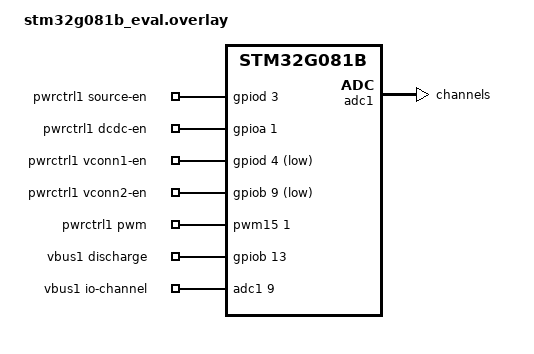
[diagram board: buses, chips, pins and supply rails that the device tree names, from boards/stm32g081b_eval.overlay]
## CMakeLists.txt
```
# Copyright (c) 2026 Alexander Wachter
#
# SPDX-License-Identifier: Apache-2.0

cmake_minimum_required(VERSION 3.21)

find_package(Zephyr REQUIRED HINTS $ENV{ZEPHYR_BASE})
project(usbc_pd_drp_sample LANGUAGES CXX)

target_sources(app PRIVATE src/main.cpp)
```

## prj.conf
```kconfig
CONFIG_USB_TYPEC_STACK=y
CONFIG_USBC_TCPC_DRIVER=y
CONFIG_USBC_VBUS_DRIVER=y
CONFIG_ADC=y
CONFIG_PWM=y
CONFIG_GPIO=y
CONFIG_LOG=y
CONFIG_MTL_FSM_TRACE=y
CONFIG_CPP=y
CONFIG_STD_CPP20=y
CONFIG_REQUIRES_FULL_LIBCPP=y
```

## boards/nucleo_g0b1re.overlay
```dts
/*
 * Copyright (c) 2026 Alexander Wachter
 *
 * SPDX-License-Identifier: Apache-2.0
 *
 * NUCLEO-G0B1RE with the X-NUCLEO-DRP1M1 shield (--shield
 * x_nucleo_drp1m1): the port's capabilities. The source offer is the
 * shield's SOURCE path, fed with 5 V from the Nucleo's rail through
 * the CN4 jumper and switched onto VBUS by the TCPP03-M20.
 */

#include <zephyr/dt-bindings/usb-c/pd.h>

&x_nucleo_drp1m1_port {
	sink-pdos = <PDO_FIXED(5000, 100, 0)>;
	source-pdos = <PDO_FIXED(5000, 1500, 0)>;
};
```

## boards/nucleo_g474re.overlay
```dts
/*
 * Copyright (c) 2026 Alexander Wachter
 *
 * SPDX-License-Identifier: Apache-2.0
 *
 * NUCLEO-G474RE with the X-NUCLEO-DRP1M1 shield (--shield
 * x_nucleo_drp1m1): the port's capabilities. The source offer is the
 * shield's SOURCE path, fed with 5 V from the Nucleo's rail through
 * the CN4 jumper and switched onto VBUS by the TCPP03-M20.
 */

#include <zephyr/dt-bindings/usb-c/pd.h>

&x_nucleo_drp1m1_port {
	sink-pdos = <PDO_FIXED(5000, 100, 0)>;
	source-pdos = <PDO_FIXED(5000, 1500, 0)>;
};
```

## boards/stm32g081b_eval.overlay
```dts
/*
 * Copyright (c) 2026 Alexander Wachter
 *
 * SPDX-License-Identifier: Apache-2.0
 */

#include <zephyr/dt-bindings/adc/adc.h>
#include <zephyr/dt-bindings/usb-c/pd.h>

/* VBUS reaches the ADC through a 43 kOhm divider: the longest sampling
 * time, 160.5 cycles, charges the sampling capacitor from it */
&adc1 {
	channel@9 {
		zephyr,acquisition-time = <ADC_ACQ_TIME_MAX>;
	};
};

/ {
	aliases {
		usbc-port0 = &port1;
		usbc-port0-pwrctrl = &pwrctrl1;
	};

	/* The eval board's source power path: a PWM duty cycle selects
	 * the DCDC output voltage, GPIOs gate the DCDC and the VBUS
	 * source switch (same wiring as Zephyr's usb_c/drp sample)
	 */
	pwrctrl1: pwrctrl {
		compatible = "zephyr,usb-c-pwrctrl";

		/* Pin D3 is used to enable VBUS Source */
		source-en-gpios = <&gpiod 3 GPIO_ACTIVE_HIGH>;

		/* Pin A1 is used for DCDC_EN */
		dcdc-en-gpios = <&gpioa 1 GPIO_ACTIVE_HIGH>;

		/* Pin D4 enables VCONN on CC1 */
		vconn1-en-gpios = <&gpiod 4 GPIO_ACTIVE_LOW>;

		/* Pin B9 enables VCONN on CC2 */
		vconn2-en-gpios = <&gpiob 9 GPIO_ACTIVE_LOW>;

		/* PWM for voltage selection */
		pwms = <&pwm15 1 PWM_USEC(50) PWM_POLARITY_INVERTED>;
	};

	vbus1: vbus {
		compatible = "zephyr,usb-c-vbus-adc";
		io-channels = <&adc1 9>;
		output-ohms = <49900>;
		full-ohms = <(330000 + 49900)>;

		/* Pin B13 is used to control VBUS Discharge for Port1 */
		discharge-gpios = <&gpiob 13 GPIO_ACTIVE_HIGH>;
	};

	ports {
		#address-cells = <1>;
		#size-cells = <0>;

		port1: usbc-port@1 {
			compatible = "usb-c-connector";
			reg = <1>;
			tcpc = <&ucpd1>;
			vbus = <&vbus1>;
			power-role = "dual";
			sink-pdos = <PDO_FIXED(5000, 100, 0)>;
			source-pdos = <PDO_FIXED(5000, 1500, 0) PDO_FIXED(9000, 1000, 0)
				       PDO_FIXED(15000, 1000, 0)>;
		};
	};
};
```

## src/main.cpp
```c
/*
 * USB PD dual-role port sample: DRP toggling plus power negotiation in
 * whichever role the attach resolves to, behind usbc::PdDrp - the user
 * side is only the domain pieces: drivers, timers, capabilities,
 * policies, and the power effects. Engine routing, alert dispatch, and
 * message-header bookkeeping live in the library.
 *
 * The joystick triggers the PD swap messaging: SEL requests a
 * PR_Swap, LEFT a DR_Swap. The engines run the full exchange - the
 * request, the partner's Accept, and for the power swap the PS_RDY
 * hand-off with the termination flip in between.
 *
 * Copyright (c) 2026 Alexander Wachter
 *
 * SPDX-License-Identifier: Apache-2.0
 */

#include <mtl/zephyr/TraceLogger.hpp>
#include <usbc/PdDrp.hpp>
#include <usbc/zephyr/Tcpc.hpp>
#include <usbc/zephyr/Vbus.hpp>
#include <usbc/zephyr/WorkQueue.hpp>

#include <zephyr/devicetree.h>
#include <zephyr/drivers/gpio.h>
#include <zephyr/drivers/pwm.h>
#include <zephyr/drivers/usb_c/usbc_tcpc.h>
#include <zephyr/kernel.h>
#include <zephyr/logging/log.h>

#include <array>
#include <cstdint>

LOG_MODULE_REGISTER(pd_drp_sample, LOG_LEVEL_INF);

#define USBC_PORT0_NODE DT_ALIAS(usbc_port0)

// The source power path is the board's: the STM32G081B-EVAL's DCDC
// behind a PWM voltage select (zephyr,usb-c-pwrctrl, aliased
// usbc-port0-pwrctrl), or a fixed 5 V rail that the connector's power
// path controller (ppc) switches onto VBUS - the X-NUCLEO-DRP1M1
#define PWRCTRL_NODE DT_ALIAS(usbc_port0_pwrctrl)
#define HAS_PWRCTRL DT_NODE_EXISTS(PWRCTRL_NODE)
#define HAS_PPC DT_NODE_HAS_PROP(USBC_PORT0_NODE, ppc)

#if HAS_PPC
#define PPC_NODE DT_PROP(USBC_PORT0_NODE, ppc)
#if DT_NODE_HAS_COMPAT(PPC_NODE, st_tcpp03_m20)
#define PPC_SWITCHES_VCONN 1
#include <zephyr/drivers/usb_c/tcpp03_m20.h>
#endif
#endif

namespace {

// What this port takes as a sink, and offers as a source
constexpr std::array sink_capabilities{
    usbc::sink_capability{5000, 3000},
    usbc::sink_capability{9000, 3000}
};
// The source offers come straight from the connector node's
// source-pdos: the DT PDO_FIXED words are the PD wire format that
// usbc::pdo::makeFixedSource() builds
constexpr std::array<std::uint32_t, DT_PROP_LEN(USBC_PORT0_NODE, source_pdos)> source_caps{
    DT_FOREACH_PROP_ELEM_SEP(USBC_PORT0_NODE, source_pdos, DT_PROP_BY_IDX, (, ))
};

// The sink engine's power side: no real input regulator, log its work
struct Power : usbc::SinkPower<Power> {
    bool setLimit(usbc::millivolt voltage, usbc::milliamp current)
    {
        LOG_INF("load limit: %d mV, %d mA", voltage, current);
        return true;
    }
    void onContract(usbc::millivolt voltage, usbc::milliamp current)
    {
        LOG_INF("sink contract: %d mV at %d mA", voltage, current);
    }
    void onContractLost() { LOG_WRN("sink contract lost, back to vSafe5V"); }
};

// The supply's settled report comes from the stack's work queue, never
// synchronously - the engine is mid-transition when setOutput() runs
// (no output-voltage feedback on these boards, as in Zephyr's sample)
struct QueuedReadyReport {
    k_work work{};
    usbc::supply_ready_callback callback = nullptr;
    void* context = nullptr;

    QueuedReadyReport()
    {
        k_work_init(&work, [](k_work* item) {
            auto* self = CONTAINER_OF(item, QueuedReadyReport, work);
            self->callback(self->context, true);
        });
    }

    void setReadyCallback(usbc::supply_ready_callback cb, void* ctx)
    {
        callback = cb;
        context = ctx;
    }
    void reportReady() { k_work_submit_to_queue(&usbc::zephyr::workQueue(), &work); }
};

#if HAS_PWRCTRL
// The eval board's source power path: a PWM duty cycle selects the
// DCDC output voltage, GPIOs gate the DCDC and the VBUS source switch
struct Supply : usbc::SourceSupply<Supply>, QueuedReadyReport {
    // duty cycles measured for the eval board's DCDC (50 us period)
    static constexpr uint32_t pulseFor(usbc::millivolt voltage)
    {
        switch (voltage) {
        case 5000: return 21500;
        case 9000: return 30000;
        case 15000: return 45000;
        default: return 0;
        }
    }

    pwm_dt_spec const voltage_select = PWM_DT_SPEC_GET(PWRCTRL_NODE);
    gpio_dt_spec const source_en = GPIO_DT_SPEC_GET(PWRCTRL_NODE, source_en_gpios);
    gpio_dt_spec const dcdc_en = GPIO_DT_SPEC_GET(PWRCTRL_NODE, dcdc_en_gpios);

    bool init()
    {
        return gpio_pin_configure_dt(&source_en, GPIO_OUTPUT_ACTIVE) == 0 &&
               gpio_pin_configure_dt(&dcdc_en, GPIO_OUTPUT_ACTIVE) == 0 &&
               pwm_set_pulse_dt(&voltage_select, pulseFor(0)) == 0;
    }

    bool setOutput(usbc::millivolt voltage, usbc::milliamp current_limit)
    {
        LOG_INF("supply: %d mV, %d mA", voltage, current_limit);
        if (pwm_set_pulse_dt(&voltage_select, pulseFor(voltage)) != 0) {
            return false;
        }
        reportReady();
        return true;
    }
};
#else
// A fixed 5 V rail: the power path controller's source switch puts it
// onto VBUS (the vbus block's switch position), so vSafe5V is the only
// operating point and the connector's source-pdos offer nothing else
struct Supply : usbc::SourceSupply<Supply>, QueuedReadyReport {
    bool init() { return true; }

    bool setOutput(usbc::millivolt voltage, usbc::milliamp current_limit)
    {
        LOG_INF("supply: %d mV, %d mA", voltage, current_limit);
        if (voltage != 5000) {
            return false;
        }
        reportReady();
        return true;
    }
};
#endif
static_assert(usbc::concepts::source_supply<Supply>);

// Signals that the power supply is live at the contract's operating
// point: the engine has driven Supply::setOutput(), the output
// settled, and PS_RDY is on the wire when onContract fires.
// onContractLost reports the end (detach, Hard Reset), output back at
// vSafe5V. Report-only - the engine programs the supply itself
struct ContractMonitor : usbc::SourcePower<ContractMonitor> {
    void onContract(usbc::millivolt voltage, usbc::milliamp current)
    {
        LOG_INF("source contract: %d mV at %d mA", voltage, current);
    }
    void onContractLost() { LOG_WRN("source contract lost, back to vSafe5V"); }
};

// The injected vconn_port: connects the VCONN switch - behind the
// TCPC driver on both boards - and answers the engines' question
// whether the port may take the role. The answer brings the VCONN
// machine's sourcing states and the engines' VCONN_Swap states in; a
// port without it compiles the feature out
struct VconnPolicy : fsm::observing<VconnPolicy> {
    explicit VconnPolicy(usbc::zephyr::Tcpc& tcpc_ref) : tcpc(tcpc_ref) {}

    void notifyEntry(usbc::vconn::vconn_switch vconn) { tcpc.setVconn(vconn.on); }
    bool check(usbc::pe::vconn_swap_allowed) { return true; }

    usbc::zephyr::Tcpc& tcpc;
};

#ifdef PPC_SWITCHES_VCONN
// The switch itself sits in the power path controller: the UCPD driver
// asks these callbacks, naming the CC pin that carries VCONN
int switchVconn(device const*, device const*, tc_cc_polarity polarity, bool enable)
{
    return tcpp03_m20_set_vconn(DEVICE_DT_GET(PPC_NODE), polarity, enable);
}

int dischargeVconn(device const*, device const*, tc_cc_polarity, bool enable)
{
    return tcpp03_m20_set_vconn_discharge(DEVICE_DT_GET(PPC_NODE), enable);
}
#endif

// Answers the engines' questions on the partner's PR_Swap and
// DR_Swap - this board always agrees; the answers are what enable
// both features. Dropping this observer compiles them out and the
// partner's requests are answered Not_Supported
struct SwapPolicy : fsm::observing<SwapPolicy> {
    bool check(usbc::pe::pr_swap_allowed) { return true; }
    bool check(usbc::pe::dr_swap_allowed) { return true; }
};

// The TraceLogger traces every machine of the port - connection,
// engines, protocol layers, vconn (module mtl_fsm, info level,
// behind CONFIG_MTL_FSM_TRACE)
// PD_DRP_MINIMAL drops the optional features (VCONN, PR_Swap,
// DR_Swap) by not injecting their enabling observers - the engines'
// swap and VCS states are then filtered from the tables. The
// feature-parity size comparison against Zephyr's drp sample (whose
// stack has none of these) builds with
// EXTRA_CPPFLAGS=-DPD_DRP_MINIMAL
#ifdef PD_DRP_MINIMAL
using Port = usbc::PdDrp<
    usbc::zephyr::Tcpc,
    usbc::zephyr::Tcpc,
    usbc::zephyr::Vbus,
    usbc::zephyr::Timer,
    usbc::PowerPolicy,
    Power,
    usbc::RequestPolicy,
    Supply,
    ContractMonitor,
    usbc::default_drp_timing,
    usbc::drp_preference::none,
    mtl::zephyr::TraceLogger>;
#else
using Port = usbc::PdDrp<
    usbc::zephyr::Tcpc,
    usbc::zephyr::Tcpc,
    usbc::zephyr::Vbus,
    usbc::zephyr::Timer,
    usbc::PowerPolicy,
    Power,
    usbc::RequestPolicy,
    Supply,
    ContractMonitor,
    usbc::default_drp_timing,
    usbc::drp_preference::none,
    mtl::zephyr::TraceLogger,
    VconnPolicy,
    SwapPolicy>;
#endif

device const* const tcpc_device = DEVICE_DT_GET(DT_PROP(USBC_PORT0_NODE, tcpc));
device const* const vbus_device = DEVICE_DT_GET(DT_PROP(USBC_PORT0_NODE, vbus));
// The TCPC adapter is the CC block and the PD PHY in one object
usbc::zephyr::Tcpc tcpc{tcpc_device};
#if HAS_PPC
// The VBUS paths and the discharge are the power path controller's
usbc::zephyr::Vbus vbus{vbus_device, DEVICE_DT_GET(PPC_NODE)};
#else
usbc::zephyr::Vbus vbus{vbus_device};
#endif
usbc::pd_drp_timers<usbc::zephyr::Timer> timers;

usbc::PowerPolicy sink_policy{5000, 27000}; // at least 5 W, aim for 27 W
Power power;
usbc::RequestPolicy source_policy;
Supply supply;
ContractMonitor contract_monitor;
mtl::zephyr::TraceLogger state_logger;
#ifndef PD_DRP_MINIMAL
VconnPolicy vconn_policy{tcpc};
SwapPolicy swap_policy;
#endif

// The Rp matches the 5 V capability the port advertises through PD
#ifdef PD_DRP_MINIMAL
Port port{
    tcpc,
    tcpc,
    vbus,
    timers,
    sink_capabilities,
    sink_policy,
    power,
    source_caps,
    source_policy,
    supply,
    contract_monitor,
    usbc::rp_value::p_1a5,
    state_logger
};
#else
Port port{
    tcpc,
    tcpc,
    vbus,
    timers,
    sink_capabilities,
    sink_policy,
    power,
    source_caps,
    source_policy,
    supply,
    contract_monitor,
    usbc::rp_value::p_1a5,
    state_logger,
    vconn_policy,
    swap_policy
};
#endif

// The buttons trigger the PD swap messaging (sw0 a PR_Swap, sw1 a
// DR_Swap where the board has a second one), submitted to the stack's
// queue - the serialization the swap calls require. The request goes
// on the wire; the roles change once the partner accepts and the
// PS_RDY hand-off completes
void powerSwap(k_work*)
{
    if (!port.swapPowerRole()) {
        LOG_INF("power role swap refused (no contract, busy, or vetoed)");
        return;
    }
    LOG_INF("PR_Swap sent");
}

K_WORK_DEFINE(power_swap_work, powerSwap);

gpio_dt_spec const power_button = GPIO_DT_SPEC_GET(DT_ALIAS(sw0), gpios);
gpio_callback power_button_cb;

#define HAS_DATA_BUTTON DT_NODE_EXISTS(DT_ALIAS(sw1))
#if HAS_DATA_BUTTON
void dataSwap(k_work*)
{
    if (!port.swapDataRole()) {
        LOG_INF("data role swap refused (no contract, busy, or vetoed)");
        return;
    }
    LOG_INF("DR_Swap sent");
}

K_WORK_DEFINE(data_swap_work, dataSwap);

gpio_dt_spec const data_button = GPIO_DT_SPEC_GET(DT_ALIAS(sw1), gpios);
gpio_callback data_button_cb;
#endif

void setupButton(
    gpio_dt_spec const& button,
    gpio_callback& callback,
    gpio_callback_handler_t handler
)
{
    gpio_pin_configure_dt(&button, GPIO_INPUT);
    gpio_pin_interrupt_configure_dt(&button, GPIO_INT_EDGE_TO_ACTIVE);
    gpio_init_callback(&callback, handler, BIT(button.pin));
    gpio_add_callback(button.port, &callback);
}

} // namespace

int main()
{
    if (!supply.init()) {
        LOG_ERR("supply hardware init failed");
        return -1;
    }
#ifdef PPC_SWITCHES_VCONN
    tcpc_set_vconn_cb(tcpc_device, switchVconn, nullptr);
    tcpc_set_vconn_discharge_cb(tcpc_device, dischargeVconn, nullptr);
#endif
    port.start(); // leave Disabled: toggle Rd/Rp, resolve with the partner

    setupButton(power_button, power_button_cb, [](const device*, gpio_callback*, uint32_t) {
        k_work_submit_to_queue(&usbc::zephyr::workQueue(), &power_swap_work);
    });
#if HAS_DATA_BUTTON
    setupButton(data_button, data_button_cb, [](const device*, gpio_callback*, uint32_t) {
        k_work_submit_to_queue(&usbc::zephyr::workQueue(), &data_swap_work);
    });
    LOG_INF("USB PD dual-role port running; sw0: power role swap, sw1: data role swap");
#else
    LOG_INF("USB PD dual-role port running; sw0: power role swap");
#endif
    return 0;
}
```
